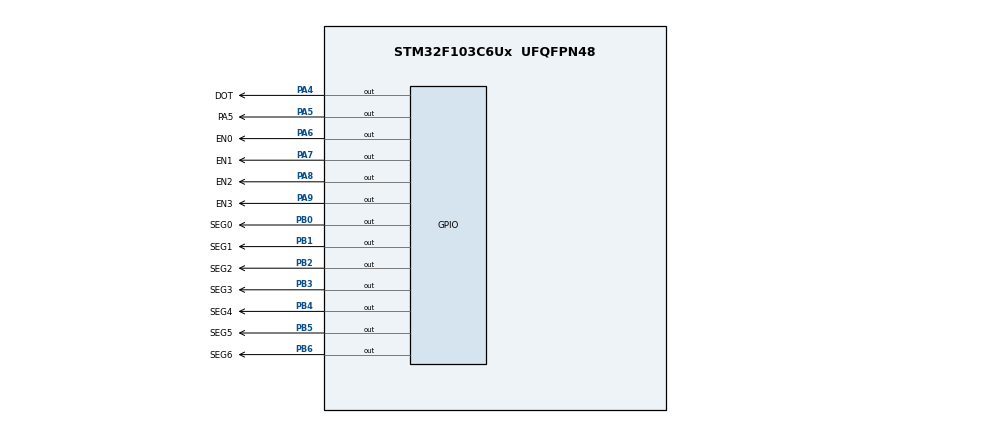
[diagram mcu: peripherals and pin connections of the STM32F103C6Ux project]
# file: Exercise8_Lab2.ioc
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Mcu.Family=STM32F1
Mcu.Name=STM32F103C6Ux
Mcu.Package=UFQFPN48
NVIC.PriorityGroup=NVIC_PRIORITYGROUP_4
NVIC.TIM2_IRQn=true\:0\:0\:false\:false\:true\:true\:true
PA4.GPIO_Label=DOT
PA4.Signal=GPIO_Output
PA5.GPIO_Label=PA5
PA5.Signal=GPIO_Output
PA6.GPIO_Label=EN0
PA6.Signal=GPIO_Output
PA7.GPIO_Label=EN1
PA7.Signal=GPIO_Output
PA8.GPIO_Label=EN2
PA8.Signal=GPIO_Output
PA9.GPIO_Label=EN3
PA9.Signal=GPIO_Output
PB0.GPIO_Label=SEG0
PB0.Signal=GPIO_Output
PB0.Stacked=true
PB1.GPIO_Label=SEG1
PB1.Signal=GPIO_Output
PB2.GPIO_Label=SEG2
PB2.Signal=GPIO_Output
PB3.GPIO_Label=SEG3
PB3.Signal=GPIO_Output
PB4.GPIO_Label=SEG4
PB4.Signal=GPIO_Output
PB5.GPIO_Label=SEG5
PB5.Signal=GPIO_Output
PB6.GPIO_Label=SEG6
PB6.Signal=GPIO_Output
ProjectManager.HeapSize=0x200
ProjectManager.StackSize=0x400
ProjectManager.TargetToolchain=STM32CubeIDE
RCC.APB1Freq_Value=8000000
RCC.APB2Freq_Value=8000000
TIM2.Period=10
TIM2.Prescaler=7999
VP_SYS_VS_ND.Mode=No_Debug
VP_TIM2_VS_ClockSourceINT.Mode=Internal
board=custom

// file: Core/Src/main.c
/* USER CODE BEGIN Header */
/**
  ******************************************************************************
  * @file           : main.c
  * @brief          : Main program body
  ******************************************************************************
  * @attention
  *
  * <h2><center>&copy; Copyright (c) 2022 STMicroelectronics.
  * All rights reserved.</center></h2>
  *
  * This software component is licensed by ST under BSD 3-Clause license,
  * the "License"; You may not use this file except in compliance with the
  * License. You may obtain a copy of the License at:
  *                        opensource.org/licenses/BSD-3-Clause
  *
  ******************************************************************************
  */
/* USER CODE END Header */
#include "main.h"

TIM_HandleTypeDef htim2;

void SystemClock_Config(void);
static void MX_GPIO_Init(void);
static void MX_TIM2_Init(void);

/* USER CODE BEGIN 0 */
void display7SEG(int num, GPIO_TypeDef* GPIOx, uint16_t start_index){
	__IO uint16_t temp;
	switch(num){
	case 0:
		temp = 0b1000000;
		break;
	case 1:
		temp = 0b1111001;
		break;
	case 2:
		temp = 0b0100100;
		break;
	case 3:
		temp = 0b0110000;
		break;
	case 4:
		temp = 0b0011001;
		break;
	case 5:
		temp = 0b0010010;
		break;
	case 6:
		temp = 0b0000010;
		break;
	case 7:
		temp = 0b1111000;
		break;
	case 8:
		temp = 0b0;
		break;
	case 9:
		temp = 0b0010000;
		break;
	default:
		temp = !0b0;
		break;
	}
	uint16_t bitmask = 0b1111111 << start_index ;
	GPIOx->ODR = (GPIOx->ODR & ~bitmask) | (temp << start_index);
}
int timer0_counter = 0;
int timer0_flag = 0;
int TIMER_CYCLE = 10;
void setTimer0 ( int duration ) {
timer0_counter = duration / TIMER_CYCLE ;
timer0_flag = 0;
}
void timer_run () {
	if( timer0_counter > 0)
	{
		timer0_counter --;
		if( timer0_counter == 0) timer0_flag = 1;
	}
}

/* USER CODE END 0 */

int main(void)
{

  /* MCU Configuration--------------------------------------------------------*/

  /* Reset of all peripherals, Initializes the Flash interface and the Systick. */
  HAL_Init();

  /* Configure the system clock */
  SystemClock_Config();

  /* Initialize all configured peripherals */
  MX_GPIO_Init();
  MX_TIM2_Init();
  /* USER CODE BEGIN 2 */
  HAL_TIM_Base_Start_IT(&htim2);
  /* USER CODE END 2 */
void EN(uint16_t num){
	uint16_t bitmask = 0b1111 << 6;
	GPIOA->ODR = (GPIOA->ODR & ~bitmask ) | (~(1 << num) << 6);

}
int hour = 15 ;
int minute = 8 ;
int second = 50;
int led_buffer[4] = {1,2,3,4};
void update7SEG(int index){
	switch(index){
	case 0:
		EN(0);
		break;
	case 1:
		EN(1);
		break;
	case 2:
		EN(2);
		break;
	case 3:
		EN(3);
		break;
	default:
		break;
	}
	display7SEG(led_buffer[index], GPIOB, 0);
}
void updateClockBuffer() {
		led_buffer[0] = hour / 10;
		led_buffer[1] = hour % 10;
		led_buffer[2] = minute / 10;
		led_buffer[3] = minute % 10;
	}
  /* Infinite loop */
  /* USER CODE BEGIN WHILE */
	setTimer0(10);
		int count = 0;
		int led_index = 0;
		updateClockBuffer();
  	while (1) {
  		if (timer0_flag == 1){
  			setTimer0(250);
  			count++;
  			update7SEG(led_index++);
  			if (count == 4){
				count = 0;
				led_index = 0;
				second++;
				if (second >= 60) {
					second = 0;
					minute++;
				}
				if (minute >= 60) {
					minute = 0;
					hour++;
				}
				if (hour >= 24) {
					hour = 0;
				}
	  			updateClockBuffer();
	  	  		HAL_GPIO_TogglePin(GPIOA, DOT_Pin);
  			}
  		}
  		/* USER CODE END WHILE */

  	}
}

void SystemClock_Config(void)
{
  RCC_OscInitTypeDef RCC_OscInitStruct = {0};
  RCC_ClkInitTypeDef RCC_ClkInitStruct = {0};

  /** Initializes the RCC Oscillators according to the specified parameters
  * in the RCC_OscInitTypeDef structure.
  */
  RCC_OscInitStruct.OscillatorType = RCC_OSCILLATORTYPE_HSI;
  RCC_OscInitStruct.HSIState = RCC_HSI_ON;
  RCC_OscInitStruct.HSICalibrationValue = RCC_HSICALIBRATION_DEFAULT;
  RCC_OscInitStruct.PLL.PLLState = RCC_PLL_NONE;
  if (HAL_RCC_OscConfig(&RCC_OscInitStruct) != HAL_OK)
  {
    Error_Handler();
  }
  /** Initializes the CPU, AHB and APB buses clocks
  */
  RCC_ClkInitStruct.ClockType = RCC_CLOCKTYPE_HCLK|RCC_CLOCKTYPE_SYSCLK
                              |RCC_CLOCKTYPE_PCLK1|RCC_CLOCKTYPE_PCLK2;
  RCC_ClkInitStruct.SYSCLKSource = RCC_SYSCLKSOURCE_HSI;
  RCC_ClkInitStruct.AHBCLKDivider = RCC_SYSCLK_DIV1;
  RCC_ClkInitStruct.APB1CLKDivider = RCC_HCLK_DIV1;
  RCC_ClkInitStruct.APB2CLKDivider = RCC_HCLK_DIV1;

  if (HAL_RCC_ClockConfig(&RCC_ClkInitStruct, FLASH_LATENCY_0) != HAL_OK)
  {
    Error_Handler();
  }
}

static void MX_TIM2_Init(void)
{

  TIM_ClockConfigTypeDef sClockSourceConfig = {0};
  TIM_MasterConfigTypeDef sMasterConfig = {0};

  htim2.Instance = TIM2;
  htim2.Init.Prescaler = 7999;
  htim2.Init.CounterMode = TIM_COUNTERMODE_UP;
  htim2.Init.Period = 10;
  htim2.Init.ClockDivision = TIM_CLOCKDIVISION_DIV1;
  htim2.Init.AutoReloadPreload = TIM_AUTORELOAD_PRELOAD_DISABLE;
  if (HAL_TIM_Base_Init(&htim2) != HAL_OK)
  {
    Error_Handler();
  }
  sClockSourceConfig.ClockSource = TIM_CLOCKSOURCE_INTERNAL;
  if (HAL_TIM_ConfigClockSource(&htim2, &sClockSourceConfig) != HAL_OK)
  {
    Error_Handler();
  }
  sMasterConfig.MasterOutputTrigger = TIM_TRGO_RESET;
  sMasterConfig.MasterSlaveMode = TIM_MASTERSLAVEMODE_DISABLE;
  if (HAL_TIMEx_MasterConfigSynchronization(&htim2, &sMasterConfig) != HAL_OK)
  {
    Error_Handler();
  }

}

static void MX_GPIO_Init(void)
{
  GPIO_InitTypeDef GPIO_InitStruct = {0};

  /* GPIO Ports Clock Enable */
  __HAL_RCC_GPIOA_CLK_ENABLE();
  __HAL_RCC_GPIOB_CLK_ENABLE();

  /*Configure GPIO pin Output Level */
  HAL_GPIO_WritePin(GPIOA, DOT_Pin|PA5_Pin|EN0_Pin|EN1_Pin
                          |EN2_Pin|EN3_Pin, GPIO_PIN_RESET);

  /*Configure GPIO pin Output Level */
  HAL_GPIO_WritePin(GPIOB, SEG0_Pin|SEG1_Pin|SEG2_Pin|SEG3_Pin
                          |SEG4_Pin|SEG5_Pin|SEG6_Pin, GPIO_PIN_RESET);

  /*Configure GPIO pins : DOT_Pin PA5_Pin EN0_Pin EN1_Pin
                           EN2_Pin EN3_Pin */
  GPIO_InitStruct.Pin = DOT_Pin|PA5_Pin|EN0_Pin|EN1_Pin
                          |EN2_Pin|EN3_Pin;
  GPIO_InitStruct.Mode = GPIO_MODE_OUTPUT_PP;
  GPIO_InitStruct.Pull = GPIO_NOPULL;
  GPIO_InitStruct.Speed = GPIO_SPEED_FREQ_LOW;
  HAL_GPIO_Init(GPIOA, &GPIO_InitStruct);

  /*Configure GPIO pins : SEG0_Pin SEG1_Pin SEG2_Pin SEG3_Pin
                           SEG4_Pin SEG5_Pin SEG6_Pin */
  GPIO_InitStruct.Pin = SEG0_Pin|SEG1_Pin|SEG2_Pin|SEG3_Pin
                          |SEG4_Pin|SEG5_Pin|SEG6_Pin;
  GPIO_InitStruct.Mode = GPIO_MODE_OUTPUT_PP;
  GPIO_InitStruct.Pull = GPIO_NOPULL;
  GPIO_InitStruct.Speed = GPIO_SPEED_FREQ_LOW;
  HAL_GPIO_Init(GPIOB, &GPIO_InitStruct);

}

/* USER CODE BEGIN 4 */

void HAL_TIM_PeriodElapsedCallback (TIM_HandleTypeDef * htim){
	timer_run();
}
/* USER CODE END 4 */

void Error_Handler(void)
{
  __disable_irq();
  while (1)
  {
  }
}

/************************ (C) COPYRIGHT STMicroelectronics *****END OF FILE****/
